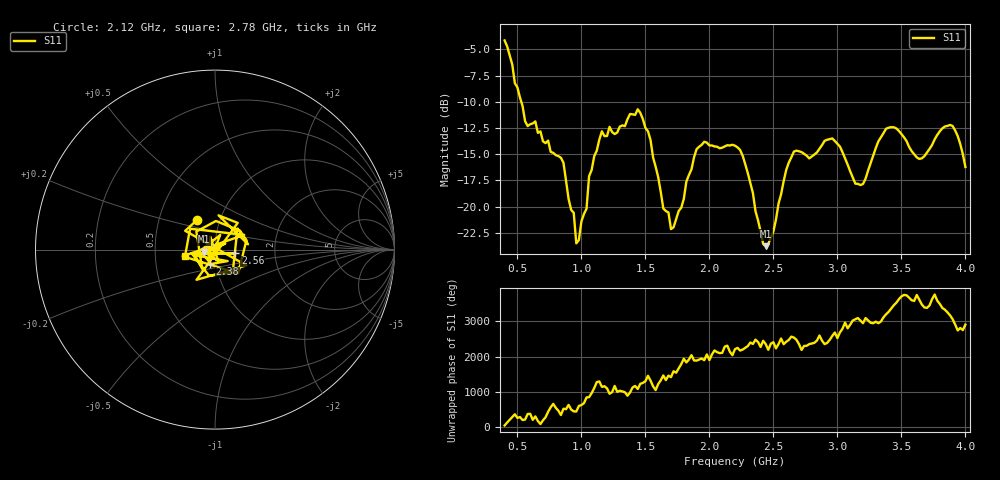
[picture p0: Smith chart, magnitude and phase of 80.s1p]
!Created with skrf (http://scikit-rf.org).
# Hz S RI R 50.0
!freq ReS11 ImS11
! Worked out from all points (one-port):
!   181 points, 400 MHz to 4 GHz, reference 50 ohm
!   lowest |S11| = -23.8 dB at 2.44 GHz (marker M1), VSWR 1.14, Z = 44 - j0.989 ohm
!   |S11| at or under -10 dB: 530.3 MHz to end of sweep
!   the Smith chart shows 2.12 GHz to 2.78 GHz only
!   S11 on the Smith chart (normalised r, x): 2.12 GHz: 0.78, +0.27; 2.38 GHz: 0.93, -0.15; 2.56 GHz: 1.25, -0.05; 2.78 GHz: 0.71, -0.05
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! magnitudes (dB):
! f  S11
! 400 MHz  -4.2
! 560 MHz  -11.8
! 860 MHz  -15.8
! 940 MHz  -20.6
! 960 MHz  -23.5
! 1.16 GHz  -12.8
! 1.3 GHz  -12.4
! 1.46 GHz  -11.0
! 1.54 GHz  -13.6
! 1.7 GHz  -22.1
! 1.76 GHz  -20.4
! 1.9 GHz  -14.5
! 2.12 GHz  -14.2
! 2.2 GHz  -14.2
! 2.26 GHz  -15.1
! 2.38 GHz  -21.3
! 2.44 GHz  -23.8
! 2.56 GHz  -18.8
! 2.66 GHz  -14.7
! 2.78 GHz  -15.4
! 2.96 GHz  -13.5
! 3.1 GHz  -16.6
! 3.2 GHz  -17.8
! 3.38 GHz  -12.6
! 3.56 GHz  -14.3
! 3.66 GHz  -15.4
! 3.88 GHz  -12.2
! 4 GHz  -16.2
